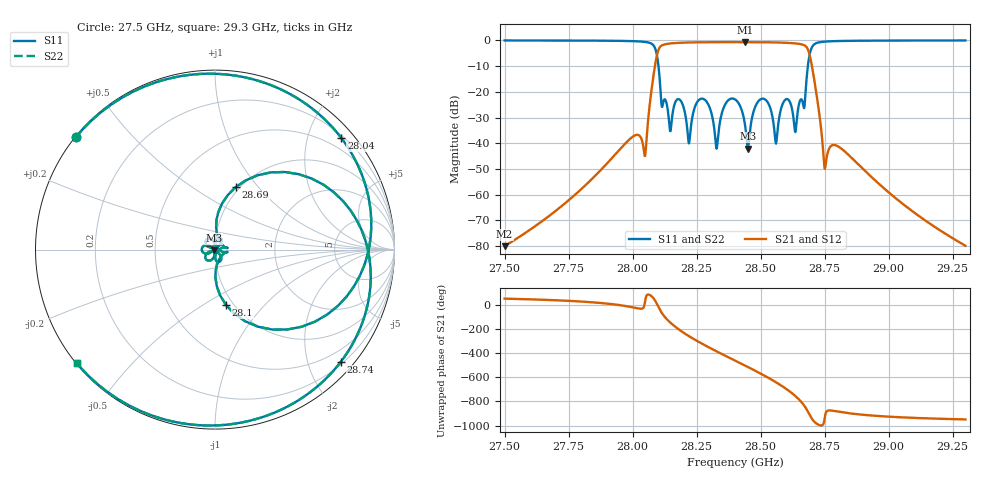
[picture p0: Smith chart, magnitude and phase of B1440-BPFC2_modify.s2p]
! Created with skrf (http://scikit-rf.org).
! Parameters = {f0=28390; bw=500; Q=3500; N=8; m_0_1=1.024807333946228; m_1_1=-0.000847494404297322; m_1_2=0.8469452857971191; m_2_2=-0.0009200117201544344; m_2_3=0.595033586025238; m_3_3=-0.001072873012162745; m_3_4=0.5169047713279724; m_3_5=-0.029739277437329292; m_3_6=-0.18840281665325165; m_4_4=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
# MHz S RI R 50.0
!freq ReS11 ImS11 ReS21 ImS21 ReS12 ImS12 ReS22 ImS22
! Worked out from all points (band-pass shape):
!   1001 points, 27.5 GHz to 29.3 GHz, reference 50 ohm
!   highest |S21| = -0.66 dB at 28.44 GHz (marker M1); lowest = -80.0 dB at 27.5 GHz (marker M2)
!   |S21| within 3 dB of the highest: 28.1 GHz to 28.69 GHz (584.1 MHz wide, 2.06 % of centre)
!   lowest |S11| = -42.1 dB at 28.45 GHz (marker M3), VSWR 1.02, Z = 49.3 - j0.312 ohm
!   |S11| at or under -10 dB: 28.1 GHz to 28.68 GHz (583.5 MHz wide, 2.05 % of centre)
!   |S22| runs from -42.1 to 0.0 dB; largest |S21 - S12| = 0
!   S11 on the Smith chart (normalised r, x): 27.5 GHz: 0.00, +0.35; 28.04 GHz: 0.25, +2.63; 28.1 GHz: 0.92, -0.63; 28.69 GHz: 0.96, +0.77; 28.74 GHz: 0.25, -2.61; 29.3 GHz: 0.00, -0.36
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27500  -0.7758 0.6259  6.49e-05 7.61e-05  6.49e-05 7.61e-05  -0.7758 0.6259
27800.6  -0.4629 0.8765  0.00117 0.000558  0.00117 0.000558  -0.4629 0.8765
28043.6  0.7043 0.621  0.00709 -0.00262  0.00709 -0.00262  0.7043 0.621
28076  0.8486 -0.0329  0.0531 0.1193  0.0531 0.1193  0.8486 -0.0329
28101.2  0.0606 -0.3074  0.6156 -0.2296  0.6156 -0.2296  0.0606 -0.3074
28124.6  0.0703 -0.013  -0.1224 -0.8244  -0.1224 -0.8244  0.0703 -0.013
28162.4  0.00551 0.0539  -0.8828 -0.0658  -0.8828 -0.0658  0.00551 0.0539
28232.6  -0.0284 0.0121  0.1059 0.9084  0.1059 0.9084  -0.0284 0.0121
28310  -0.00319 0.0348  0.9188 -0.1049  0.9188 -0.1049  -0.00319 0.0348
28329.8  -0.0085 0.000726  0.8177 -0.4358  0.8177 -0.4358  -0.0085 0.000726
28400  -0.0702 0.0131  -0.1962 -0.9048  -0.1962 -0.9048  -0.0702 0.0131
28437.8  -0.0205 0.0144  -0.7313 -0.5695  -0.7313 -0.5695  -0.0205 0.0144
28450.4  -0.00718 -0.00316  -0.8436 -0.3832  -0.8436 -0.3832  -0.00718 -0.00316
28495.4  -0.0316 -0.0614  -0.8362 0.3863  -0.8362 0.3863  -0.0316 -0.0614
28544  -0.0347 -0.0134  -0.1357 0.9054  -0.1357 0.9054  -0.0347 -0.0134
28612.4  0.0104 -0.0656  0.8881 0.0707  0.8881 0.0707  0.0104 -0.0656
28657.4  0.0706 0.01  0.1395 -0.831  0.1395 -0.831  0.0706 0.01
28686.2  0.1155 0.3481  -0.6311 -0.1037  -0.6311 -0.1037  0.1155 0.3481
28700.6  0.6629 0.319  -0.227 0.2191  -0.227 0.2191  0.6629 0.319
28743.8  0.7014 -0.6246  0.000114 0.00768  0.000114 0.00768  0.7014 -0.6246
29001.2  -0.475 -0.8702  -0.000987 0.000488  -0.000987 0.000488  -0.475 -0.8702
29300  -0.7699 -0.6329  -6.68e-05 7.69e-05  -6.68e-05 7.69e-05  -0.7699 -0.6329
